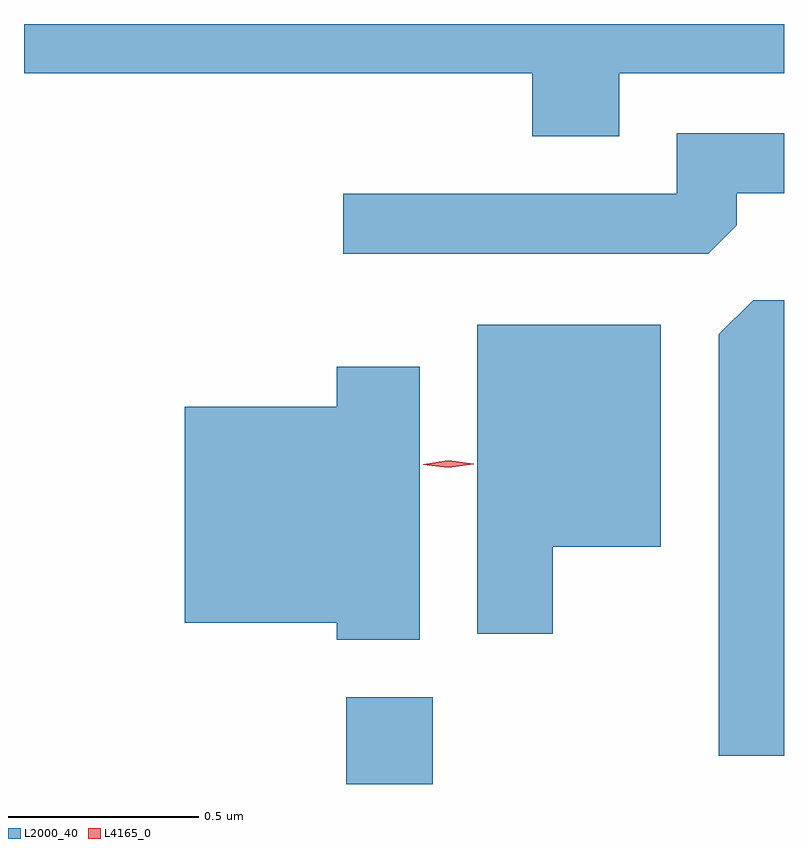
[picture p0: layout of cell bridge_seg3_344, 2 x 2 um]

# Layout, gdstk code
import gdstk
lib = gdstk.Library(unit=1e-6, precision=1e-09)
def R(c, l, rs):  # rectangles x0, y0, x1, y1
    for r in rs: c.add(gdstk.rectangle(r[:2], r[2:], *l))
def P(c, l, *ps):  # polygons
    for p in ps: c.add(gdstk.Polygon(p, *l))
L2000_40 = (2000, 40)
L4165_0 = (4165, 0)

bridge_seg3_344 = lib.new_cell('bridge_seg3_344')
R(bridge_seg3_344, L2000_40, [(543.141,1164.106,543.369,1164.334)])
P(bridge_seg3_344, L2000_40, [(542.293,1165.976),(543.631,1165.976),(543.631,1165.811),(543.859,1165.811),(543.859,1165.976),(544.293,1165.976),(544.293,1166.106),(542.293,1166.106)],
  [(544.169,1165.577),(544.169,1165.661),(544.293,1165.661),(544.293,1165.819),(544.011,1165.819),(544.011,1165.659),(543.133,1165.659),(543.133,1165.501),(544.094,1165.501)],
  [(544.293,1165.379),(544.212,1165.379),(544.121,1165.289),(544.121,1164.181),(544.293,1164.181)],
  [(543.684,1164.731),(543.969,1164.731),(543.969,1165.314),(543.486,1165.314),(543.486,1164.501),(543.684,1164.501)],
  [(543.334,1165.204),(543.116,1165.204),(543.116,1165.099),(542.716,1165.099),(542.716,1164.531),(543.116,1164.531),(543.116,1164.486),(543.334,1164.486)])
P(bridge_seg3_344, L4165_0, [(543.41,1164.938),(543.344,1164.946),(543.343,1164.947),(543.344,1164.947),(543.409,1164.958),(543.476,1164.949),(543.476,1164.949),(543.476,1164.948)])

lib.write_gds('bridge_seg3_344.gds')
